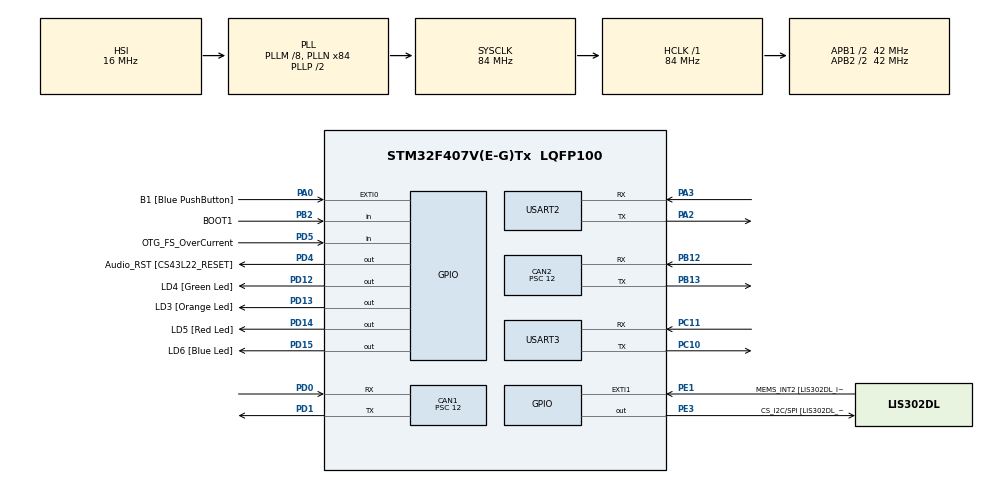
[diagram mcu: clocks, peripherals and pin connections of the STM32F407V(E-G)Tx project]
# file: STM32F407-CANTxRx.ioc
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ADC1.Channel-0\#ChannelRegularConversion=ADC_CHANNEL_TEMPSENSOR
ADC1.ClockPrescaler=ADC_CLOCK_SYNC_PCLK_DIV4
ADC1.EnableAnalogWatchDog=false
ADC1.InjNumberOfConversion=0
ADC1.NbrOfConversionFlag=1
ADC1.Rank-0\#ChannelRegularConversion=1
ADC1.SamplingTime-0\#ChannelRegularConversion=ADC_SAMPLETIME_3CYCLES
ADC1.master=1
CAN1.BS1=CAN_BS1_11TQ
CAN1.BS2=CAN_BS2_2TQ
CAN1.CalculateBaudRate=250000
CAN1.CalculateTimeBit=4000
CAN1.CalculateTimeQuantum=285.7142857142857
CAN1.NART=ENABLE
CAN1.Prescaler=12
CAN2.BS1=CAN_BS1_11TQ
CAN2.BS2=CAN_BS2_2TQ
CAN2.CalculateBaudRate=250000
CAN2.CalculateTimeBit=4000
CAN2.CalculateTimeQuantum=285.7142857142857
CAN2.Mode=CAN_MODE_NORMAL
CAN2.NART=ENABLE
CAN2.Prescaler=12
Mcu.Family=STM32F4
Mcu.Name=STM32F407V(E-G)Tx
Mcu.Package=LQFP100
NVIC.ADC_IRQn=true\:0\:0\:false\:false\:true\:true\:true\:true
NVIC.CAN1_TX_IRQn=true\:0\:0\:false\:false\:true\:true\:true\:true
NVIC.CAN2_RX0_IRQn=true\:0\:0\:false\:false\:true\:true\:true\:true
NVIC.PriorityGroup=NVIC_PRIORITYGROUP_0
NVIC.TIM3_IRQn=true\:0\:0\:false\:false\:true\:true\:true\:true
PA0-WKUP.GPIO_Label=B1 [Blue PushButton]
PA0-WKUP.Signal=GPXTI0
PA13.GPIO_Label=SWDIO
PA13.Mode=Serial_Wire
PA13.Signal=SYS_JTMS-SWDIO
PA14.GPIO_Label=SWCLK
PA14.Mode=Serial_Wire
PA14.Signal=SYS_JTCK-SWCLK
PA2.Mode=Asynchronous
PA2.Signal=USART2_TX
PA3.Mode=Asynchronous
PA3.Signal=USART2_RX
PA4.GPIO_Label=I2S3_WS [CS43L22_LRCK]
PA4.GPIO_Mode=GPIO_MODE_AF_PP
PA4.GPIO_PuPd=GPIO_NOPULL
PA4.GPIO_Speed=GPIO_SPEED_FREQ_LOW
PA4.Signal=I2S3_WS
PA5.GPIO_Label=SPI1_SCK [LIS302DL_SCL/SPC]
PA5.GPIO_Mode=GPIO_MODE_AF_PP
PA5.GPIO_PuPd=GPIO_NOPULL
PA5.GPIO_Speed=GPIO_SPEED_FREQ_LOW
PA5.Signal=SPI1_SCK
PA6.GPIO_Label=SPI1_MISO [LIS302DL_SDO]
PA6.GPIO_Mode=GPIO_MODE_AF_PP
PA6.GPIO_PuPd=GPIO_NOPULL
PA6.GPIO_Speed=GPIO_SPEED_FREQ_LOW
PA6.Signal=SPI1_MISO
PA7.GPIO_Label=SPI1_MOSI [LIS302DL_SDA/SDI/SDO]
PA7.GPIO_Mode=GPIO_MODE_AF_PP
PA7.GPIO_PuPd=GPIO_NOPULL
PA7.GPIO_Speed=GPIO_SPEED_FREQ_LOW
PA7.Signal=SPI1_MOSI
PB10.GPIO_Label=CLK_IN [MP45DT02_CLK]
PB10.GPIO_Mode=GPIO_MODE_AF_PP
PB10.GPIO_PuPd=GPIO_NOPULL
PB10.GPIO_Speed=GPIO_SPEED_FREQ_LOW
PB10.Signal=I2S2_CK
PB12.Mode=CAN_Activate
PB12.Signal=CAN2_RX
PB13.Mode=CAN_Activate
PB13.Signal=CAN2_TX
PB2.GPIO_Label=BOOT1
PB2.GPIO_Mode=GPIO_MODE_INPUT
PB2.GPIO_PuPd=GPIO_NOPULL
PB2.Signal=GPIO_Input
PB3.GPIO_Label=SWO
PB3.Signal=SYS_JTDO-SWO
PC10.Mode=Asynchronous
PC10.Signal=USART3_TX
PC11.Mode=Asynchronous
PC11.Signal=USART3_RX
PC12.GPIO_Label=I2S3_SD [CS43L22_SDIN]
PC12.GPIO_Mode=GPIO_MODE_AF_PP
PC12.GPIO_PuPd=GPIO_NOPULL
PC12.GPIO_Speed=GPIO_SPEED_FREQ_LOW
PC12.Signal=I2S3_SD
PC14-OSC32_IN.GPIO_Label=PC14-OSC32_IN
PC14-OSC32_IN.Signal=RCC_OSC32_IN
PC15-OSC32_OUT.GPIO_Label=PC15-OSC32_OUT
PC15-OSC32_OUT.Signal=RCC_OSC32_OUT
PC3.GPIO_Label=PDM_OUT [MP45DT02_DOUT]
PC3.GPIO_Mode=GPIO_MODE_AF_PP
PC3.GPIO_PuPd=GPIO_NOPULL
PC3.GPIO_Speed=GPIO_SPEED_FREQ_LOW
PC3.Signal=I2S2_SD
PC7.GPIO_Label=I2S3_MCK [CS43L22_MCLK]
PC7.GPIO_Mode=GPIO_MODE_AF_PP
PC7.GPIO_PuPd=GPIO_NOPULL
PC7.GPIO_Speed=GPIO_SPEED_FREQ_LOW
PC7.Signal=I2S3_MCK
PD0.Mode=CAN_Activate
PD0.Signal=CAN1_RX
PD1.Mode=CAN_Activate
PD1.Signal=CAN1_TX
PD12.GPIO_Label=LD4 [Green Led]
PD12.GPIO_PuPd=GPIO_NOPULL
PD12.GPIO_Speed=GPIO_SPEED_FREQ_LOW
PD12.Signal=GPIO_Output
PD13.GPIO_Label=LD3 [Orange Led]
PD13.GPIO_PuPd=GPIO_NOPULL
PD13.GPIO_Speed=GPIO_SPEED_FREQ_LOW
PD13.Signal=GPIO_Output
PD14.GPIO_Label=LD5 [Red Led]
PD14.GPIO_PuPd=GPIO_NOPULL
PD14.GPIO_Speed=GPIO_SPEED_FREQ_LOW
PD14.Signal=GPIO_Output
PD15.GPIO_Label=LD6 [Blue Led]
PD15.GPIO_PuPd=GPIO_NOPULL
PD15.GPIO_Speed=GPIO_SPEED_FREQ_LOW
PD15.Signal=GPIO_Output
PD4.GPIO_Label=Audio_RST [CS43L22_RESET]
PD4.GPIO_PuPd=GPIO_NOPULL
PD4.GPIO_Speed=GPIO_SPEED_FREQ_LOW
PD4.Signal=GPIO_Output
PD5.GPIO_Label=OTG_FS_OverCurrent
PD5.GPIO_Mode=GPIO_MODE_INPUT
PD5.GPIO_PuPd=GPIO_NOPULL
PD5.Signal=GPIO_Input
PE1.GPIO_Label=MEMS_INT2 [LIS302DL_INT2]
PE1.GPIO_ModeDefaultEXTI=GPIO_MODE_EVT_RISING
PE1.GPIO_PuPd=GPIO_NOPULL
PE1.Signal=GPXTI1
PE3.GPIO_Label=CS_I2C/SPI [LIS302DL_CS_I2C/SPI]
PE3.GPIO_PuPd=GPIO_NOPULL
PE3.GPIO_Speed=GPIO_SPEED_FREQ_LOW
PE3.Signal=GPIO_Output
PH0-OSC_IN.GPIO_Label=PH0-OSC_IN
PH0-OSC_IN.Signal=RCC_OSC_IN
PH1-OSC_OUT.GPIO_Label=PH1-OSC_OUT
PH1-OSC_OUT.Signal=RCC_OSC_OUT
ProjectManager.HeapSize=0x200
ProjectManager.StackSize=0x400
ProjectManager.TargetToolchain=STM32CubeIDE
RCC.48MHZClocksFreq_Value=24000000
RCC.AHBFreq_Value=84000000
RCC.APB1CLKDivider=RCC_HCLK_DIV2
RCC.APB1Freq_Value=42000000
RCC.APB1TimFreq_Value=84000000
RCC.APB2CLKDivider=RCC_HCLK_DIV2
RCC.APB2Freq_Value=42000000
RCC.APB2TimFreq_Value=84000000
RCC.CortexFreq_Value=84000000
RCC.HCLKFreq_Value=84000000
RCC.HSE_VALUE=8000000
RCC.HSI_VALUE=16000000
RCC.LSE_VALUE=32768
RCC.PLLM=8
RCC.PLLN=84
RCC.PLLQ=7
RCC.SYSCLKFreq_VALUE=84000000
RCC.SYSCLKSource=RCC_SYSCLKSOURCE_PLLCLK
RCC.VCOOutputFreq_Value=168000000
TIM3.Period=9999
TIM3.Prescaler=8399
USART2.VirtualMode=VM_ASYNC
USART3.VirtualMode=VM_ASYNC
VP_ADC1_TempSens_Input.Mode=IN-TempSens
VP_TIM3_VS_ClockSourceINT.Mode=Internal
board=STM32F407G-DISC1

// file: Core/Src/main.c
/* USER CODE BEGIN Header */
/**
  ******************************************************************************
  * @file           : main.c
  * @brief          : Main program body
  ******************************************************************************
  * @attention
  *
  * Copyright (c) 2026 STMicroelectronics.
  * All rights reserved.
  *
  * This software is licensed under terms that can be found in the LICENSE file
  * in the root directory of this software component.
  * If no LICENSE file comes with this software, it is provided AS-IS.
  *
  ******************************************************************************
  */
/* USER CODE END Header */
#include "main.h"

/* USER CODE BEGIN Includes */
#include "custom_F407_CAN.h"
#include "customITM.h"
#include  "custom.h"
#include "core_temp.h"
#include  "stdio.h"
#include "string.h"

/* USER CODE END Includes */

ADC_HandleTypeDef hadc1;

CAN_HandleTypeDef hcan1;
CAN_HandleTypeDef hcan2;

TIM_HandleTypeDef htim3;

UART_HandleTypeDef huart2;
UART_HandleTypeDef huart3;

/* USER CODE BEGIN PV */
CAN_TxHeaderTypeDef TxHeaderTemp;
CAN_TxHeaderTypeDef TxHeaderPres;
CAN_TxHeaderTypeDef TxHeaderBaro;
uint32_t TxMailbox;

HAL_CAN_StateTypeDef stateCAN1;
HAL_CAN_StateTypeDef stateCAN2;

/* CAN receive variables */
CAN_RxHeaderTypeDef RxHeader;

/* USER CODE END PV */

void SystemClock_Config(void);
static void MX_GPIO_Init(void);
static void MX_CAN1_Init(void);
static void MX_CAN2_Init(void);
static void MX_USART2_UART_Init(void);
static void MX_TIM3_Init(void);
static void MX_USART3_UART_Init(void);
static void MX_ADC1_Init(void);

int main(void)
{

  /* MCU Configuration--------------------------------------------------------*/

  /* Reset of all peripherals, Initializes the Flash interface and the Systick. */
  HAL_Init();

  /* Configure the system clock */
  SystemClock_Config();

  /* USER CODE BEGIN SysInit */

  HAL_Delay(500);
  /* USER CODE END SysInit */

  /* Initialize all configured peripherals */
  MX_GPIO_Init();
  MX_CAN1_Init();
  MX_CAN2_Init();
  MX_USART2_UART_Init();
  MX_TIM3_Init();
  MX_USART3_UART_Init();
  MX_ADC1_Init();
  /* USER CODE BEGIN 2 */

  /*** Enable ITM Interface ***/
  SWO_Pin_Init();
  ITM_TPIU_Init();

  const char *msg  = "[STM32F407-DISCOVERY] [CAN1:Transmitter] [CAN2:Receiver] \r\n";
  HAL_UART_Transmit(&huart3, msg, strlen(msg), 500);

  /* CAN2 Receive Filter Configuration */
  CAN_FilterTypeDef sFilterConfig = { 0 };

  sFilterConfig.FilterBank = 14;
  sFilterConfig.FilterMode = CAN_FILTERMODE_IDMASK;
  sFilterConfig.FilterScale = CAN_FILTERSCALE_32BIT;

  sFilterConfig.FilterIdHigh = (0x100U << 5U);
  sFilterConfig.FilterIdLow = 0x0000U;

  sFilterConfig.FilterMaskIdHigh = (0x7F0U << 5U);
  sFilterConfig.FilterMaskIdLow = 0x0000U;

  sFilterConfig.FilterFIFOAssignment = CAN_FILTER_FIFO0;
  sFilterConfig.FilterActivation = ENABLE;

  sFilterConfig.SlaveStartFilterBank = 14;

  if(HAL_CAN_ConfigFilter(&hcan2, &sFilterConfig) != HAL_OK)
  {
	  Error_Handler();
  }

  /*************** CAN1 Transmiiter Setting ************/
  if(HAL_CAN_Start(&hcan1) != HAL_OK)
  {
	  Error_Handler();
  }

  /*********** CAN2 Receiver Setting ******************/
	if (HAL_CAN_Start(&hcan2) != HAL_OK)
	{
		Error_Handler();
	}

  /*** Enabling RX FIFO0 MSG Pending Interrupt ***/
  if(HAL_CAN_ActivateNotification(&hcan2,
                               CAN_IT_RX_FIFO0_MSG_PENDING) != HAL_OK)
	{
		Error_Handler();
	}

  /* Message Transmit headers */

  /* Pressure Message Header */
  TxHeaderTemp.StdId = MSG_ID_TEMP;
  TxHeaderTemp.ExtId = 0;
  TxHeaderTemp.IDE = CAN_ID_STD;
  TxHeaderTemp.RTR = CAN_RTR_DATA;
  TxHeaderTemp.DLC = 8;
  TxHeaderTemp.TransmitGlobalTime = DISABLE;

  /* Pressure Message Header */
  TxHeaderPres.StdId = MSG_ID_PRES;
  TxHeaderPres.ExtId = 0;
  TxHeaderPres.IDE = CAN_ID_STD;
  TxHeaderPres.RTR = CAN_RTR_DATA;
  TxHeaderPres.DLC = 8;
  TxHeaderPres.TransmitGlobalTime = DISABLE;

  /* Getting CAN state */
 stateCAN1 = HAL_CAN_GetState(&hcan1);
 stateCAN2 = HAL_CAN_GetState(&hcan2);

 /** Start TIMER 3 **/
 if(HAL_TIM_Base_Start_IT(&htim3) != HAL_OK)
 {
	  Error_Handler();
 }

  /* USER CODE END 2 */

  /* Infinite loop */
  /* USER CODE BEGIN WHILE */
  while (1)
  {
	  HAL_Delay(250);

    /* USER CODE END WHILE */

  }
}

void SystemClock_Config(void)
{
  RCC_OscInitTypeDef RCC_OscInitStruct = {0};
  RCC_ClkInitTypeDef RCC_ClkInitStruct = {0};

  /** Configure the main internal regulator output voltage
  */
  __HAL_RCC_PWR_CLK_ENABLE();
  __HAL_PWR_VOLTAGESCALING_CONFIG(PWR_REGULATOR_VOLTAGE_SCALE1);

  /** Initializes the RCC Oscillators according to the specified parameters
  * in the RCC_OscInitTypeDef structure.
  */
  RCC_OscInitStruct.OscillatorType = RCC_OSCILLATORTYPE_HSI;
  RCC_OscInitStruct.HSIState = RCC_HSI_ON;
  RCC_OscInitStruct.HSICalibrationValue = RCC_HSICALIBRATION_DEFAULT;
  RCC_OscInitStruct.PLL.PLLState = RCC_PLL_ON;
  RCC_OscInitStruct.PLL.PLLSource = RCC_PLLSOURCE_HSI;
  RCC_OscInitStruct.PLL.PLLM = 8;
  RCC_OscInitStruct.PLL.PLLN = 84;
  RCC_OscInitStruct.PLL.PLLP = RCC_PLLP_DIV2;
  RCC_OscInitStruct.PLL.PLLQ = 7;
  if (HAL_RCC_OscConfig(&RCC_OscInitStruct) != HAL_OK)
  {
    Error_Handler();
  }

  /** Initializes the CPU, AHB and APB buses clocks
  */
  RCC_ClkInitStruct.ClockType = RCC_CLOCKTYPE_HCLK|RCC_CLOCKTYPE_SYSCLK
                              |RCC_CLOCKTYPE_PCLK1|RCC_CLOCKTYPE_PCLK2;
  RCC_ClkInitStruct.SYSCLKSource = RCC_SYSCLKSOURCE_PLLCLK;
  RCC_ClkInitStruct.AHBCLKDivider = RCC_SYSCLK_DIV1;
  RCC_ClkInitStruct.APB1CLKDivider = RCC_HCLK_DIV2;
  RCC_ClkInitStruct.APB2CLKDivider = RCC_HCLK_DIV2;

  if (HAL_RCC_ClockConfig(&RCC_ClkInitStruct, FLASH_LATENCY_2) != HAL_OK)
  {
    Error_Handler();
  }
}

static void MX_ADC1_Init(void)
{

  ADC_ChannelConfTypeDef sConfig = {0};

  /** Configure the global features of the ADC (Clock, Resolution, Data Alignment and number of conversion)
  */
  hadc1.Instance = ADC1;
  hadc1.Init.ClockPrescaler = ADC_CLOCK_SYNC_PCLK_DIV4;
  hadc1.Init.Resolution = ADC_RESOLUTION_12B;
  hadc1.Init.ScanConvMode = DISABLE;
  hadc1.Init.ContinuousConvMode = DISABLE;
  hadc1.Init.DiscontinuousConvMode = DISABLE;
  hadc1.Init.ExternalTrigConvEdge = ADC_EXTERNALTRIGCONVEDGE_NONE;
  hadc1.Init.ExternalTrigConv = ADC_SOFTWARE_START;
  hadc1.Init.DataAlign = ADC_DATAALIGN_RIGHT;
  hadc1.Init.NbrOfConversion = 1;
  hadc1.Init.DMAContinuousRequests = DISABLE;
  hadc1.Init.EOCSelection = ADC_EOC_SINGLE_CONV;
  if (HAL_ADC_Init(&hadc1) != HAL_OK)
  {
    Error_Handler();
  }

  /** Configure for the selected ADC regular channel its corresponding rank in the sequencer and its sample time.
  */
  sConfig.Channel = ADC_CHANNEL_TEMPSENSOR;
  sConfig.Rank = 1;
  sConfig.SamplingTime = ADC_SAMPLETIME_3CYCLES;
  if (HAL_ADC_ConfigChannel(&hadc1, &sConfig) != HAL_OK)
  {
    Error_Handler();
  }

}

static void MX_CAN1_Init(void)
{

  hcan1.Instance = CAN1;
  hcan1.Init.Prescaler = 12;
  hcan1.Init.Mode = CAN_MODE_NORMAL;
  hcan1.Init.SyncJumpWidth = CAN_SJW_1TQ;
  hcan1.Init.TimeSeg1 = CAN_BS1_11TQ;
  hcan1.Init.TimeSeg2 = CAN_BS2_2TQ;
  hcan1.Init.TimeTriggeredMode = DISABLE;
  hcan1.Init.AutoBusOff = DISABLE;
  hcan1.Init.AutoWakeUp = DISABLE;
  hcan1.Init.AutoRetransmission = ENABLE;
  hcan1.Init.ReceiveFifoLocked = DISABLE;
  hcan1.Init.TransmitFifoPriority = DISABLE;
  if (HAL_CAN_Init(&hcan1) != HAL_OK)
  {
    Error_Handler();
  }

}

static void MX_CAN2_Init(void)
{

  hcan2.Instance = CAN2;
  hcan2.Init.Prescaler = 12;
  hcan2.Init.Mode = CAN_MODE_NORMAL;
  hcan2.Init.SyncJumpWidth = CAN_SJW_1TQ;
  hcan2.Init.TimeSeg1 = CAN_BS1_11TQ;
  hcan2.Init.TimeSeg2 = CAN_BS2_2TQ;
  hcan2.Init.TimeTriggeredMode = DISABLE;
  hcan2.Init.AutoBusOff = DISABLE;
  hcan2.Init.AutoWakeUp = DISABLE;
  hcan2.Init.AutoRetransmission = ENABLE;
  hcan2.Init.ReceiveFifoLocked = DISABLE;
  hcan2.Init.TransmitFifoPriority = DISABLE;
  if (HAL_CAN_Init(&hcan2) != HAL_OK)
  {
    Error_Handler();
  }

}

static void MX_TIM3_Init(void)
{

  TIM_ClockConfigTypeDef sClockSourceConfig = {0};
  TIM_MasterConfigTypeDef sMasterConfig = {0};

  htim3.Instance = TIM3;
  htim3.Init.Prescaler = 8399;
  htim3.Init.CounterMode = TIM_COUNTERMODE_UP;
  htim3.Init.Period = 9999;
  htim3.Init.ClockDivision = TIM_CLOCKDIVISION_DIV1;
  htim3.Init.AutoReloadPreload = TIM_AUTORELOAD_PRELOAD_DISABLE;
  if (HAL_TIM_Base_Init(&htim3) != HAL_OK)
  {
    Error_Handler();
  }
  sClockSourceConfig.ClockSource = TIM_CLOCKSOURCE_INTERNAL;
  if (HAL_TIM_ConfigClockSource(&htim3, &sClockSourceConfig) != HAL_OK)
  {
    Error_Handler();
  }
  sMasterConfig.MasterOutputTrigger = TIM_TRGO_RESET;
  sMasterConfig.MasterSlaveMode = TIM_MASTERSLAVEMODE_DISABLE;
  if (HAL_TIMEx_MasterConfigSynchronization(&htim3, &sMasterConfig) != HAL_OK)
  {
    Error_Handler();
  }

}

static void MX_USART2_UART_Init(void)
{

  huart2.Instance = USART2;
  huart2.Init.BaudRate = 115200;
  huart2.Init.WordLength = UART_WORDLENGTH_8B;
  huart2.Init.StopBits = UART_STOPBITS_1;
  huart2.Init.Parity = UART_PARITY_NONE;
  huart2.Init.Mode = UART_MODE_TX_RX;
  huart2.Init.HwFlowCtl = UART_HWCONTROL_NONE;
  huart2.Init.OverSampling = UART_OVERSAMPLING_16;
  if (HAL_UART_Init(&huart2) != HAL_OK)
  {
    Error_Handler();
  }

}

static void MX_USART3_UART_Init(void)
{

  huart3.Instance = USART3;
  huart3.Init.BaudRate = 115200;
  huart3.Init.WordLength = UART_WORDLENGTH_8B;
  huart3.Init.StopBits = UART_STOPBITS_1;
  huart3.Init.Parity = UART_PARITY_NONE;
  huart3.Init.Mode = UART_MODE_TX_RX;
  huart3.Init.HwFlowCtl = UART_HWCONTROL_NONE;
  huart3.Init.OverSampling = UART_OVERSAMPLING_16;
  if (HAL_UART_Init(&huart3) != HAL_OK)
  {
    Error_Handler();
  }

}

static void MX_GPIO_Init(void)
{
  GPIO_InitTypeDef GPIO_InitStruct = {0};

  /* GPIO Ports Clock Enable */
  __HAL_RCC_GPIOE_CLK_ENABLE();
  __HAL_RCC_GPIOC_CLK_ENABLE();
  __HAL_RCC_GPIOH_CLK_ENABLE();
  __HAL_RCC_GPIOA_CLK_ENABLE();
  __HAL_RCC_GPIOB_CLK_ENABLE();
  __HAL_RCC_GPIOD_CLK_ENABLE();

  /*Configure GPIO pin Output Level */
  HAL_GPIO_WritePin(CS_I2C_SPI_GPIO_Port, CS_I2C_SPI_Pin, GPIO_PIN_RESET);

  /*Configure GPIO pin Output Level */
  HAL_GPIO_WritePin(GPIOD, LD4_Pin|LD3_Pin|LD5_Pin|LD6_Pin
                          |Audio_RST_Pin, GPIO_PIN_RESET);

  /*Configure GPIO pin : CS_I2C_SPI_Pin */
  GPIO_InitStruct.Pin = CS_I2C_SPI_Pin;
  GPIO_InitStruct.Mode = GPIO_MODE_OUTPUT_PP;
  GPIO_InitStruct.Pull = GPIO_NOPULL;
  GPIO_InitStruct.Speed = GPIO_SPEED_FREQ_LOW;
  HAL_GPIO_Init(CS_I2C_SPI_GPIO_Port, &GPIO_InitStruct);

  /*Configure GPIO pin : PDM_OUT_Pin */
  GPIO_InitStruct.Pin = PDM_OUT_Pin;
  GPIO_InitStruct.Mode = GPIO_MODE_AF_PP;
  GPIO_InitStruct.Pull = GPIO_NOPULL;
  GPIO_InitStruct.Speed = GPIO_SPEED_FREQ_LOW;
  GPIO_InitStruct.Alternate = GPIO_AF5_SPI2;
  HAL_GPIO_Init(PDM_OUT_GPIO_Port, &GPIO_InitStruct);

  /*Configure GPIO pin : B1_Pin */
  GPIO_InitStruct.Pin = B1_Pin;
  GPIO_InitStruct.Mode = GPIO_MODE_IT_RISING;
  GPIO_InitStruct.Pull = GPIO_NOPULL;
  HAL_GPIO_Init(B1_GPIO_Port, &GPIO_InitStruct);

  /*Configure GPIO pin : I2S3_WS_Pin */
  GPIO_InitStruct.Pin = I2S3_WS_Pin;
  GPIO_InitStruct.Mode = GPIO_MODE_AF_PP;
  GPIO_InitStruct.Pull = GPIO_NOPULL;
  GPIO_InitStruct.Speed = GPIO_SPEED_FREQ_LOW;
  GPIO_InitStruct.Alternate = GPIO_AF6_SPI3;
  HAL_GPIO_Init(I2S3_WS_GPIO_Port, &GPIO_InitStruct);

  /*Configure GPIO pins : SPI1_SCK_Pin SPI1_MISO_Pin SPI1_MOSI_Pin */
  GPIO_InitStruct.Pin = SPI1_SCK_Pin|SPI1_MISO_Pin|SPI1_MOSI_Pin;
  GPIO_InitStruct.Mode = GPIO_MODE_AF_PP;
  GPIO_InitStruct.Pull = GPIO_NOPULL;
  GPIO_InitStruct.Speed = GPIO_SPEED_FREQ_LOW;
  GPIO_InitStruct.Alternate = GPIO_AF5_SPI1;
  HAL_GPIO_Init(GPIOA, &GPIO_InitStruct);

  /*Configure GPIO pin : BOOT1_Pin */
  GPIO_InitStruct.Pin = BOOT1_Pin;
  GPIO_InitStruct.Mode = GPIO_MODE_INPUT;
  GPIO_InitStruct.Pull = GPIO_NOPULL;
  HAL_GPIO_Init(BOOT1_GPIO_Port, &GPIO_InitStruct);

  /*Configure GPIO pin : CLK_IN_Pin */
  GPIO_InitStruct.Pin = CLK_IN_Pin;
  GPIO_InitStruct.Mode = GPIO_MODE_AF_PP;
  GPIO_InitStruct.Pull = GPIO_NOPULL;
  GPIO_InitStruct.Speed = GPIO_SPEED_FREQ_LOW;
  GPIO_InitStruct.Alternate = GPIO_AF5_SPI2;
  HAL_GPIO_Init(CLK_IN_GPIO_Port, &GPIO_InitStruct);

  /*Configure GPIO pins : LD4_Pin LD3_Pin LD5_Pin LD6_Pin
                           Audio_RST_Pin */
  GPIO_InitStruct.Pin = LD4_Pin|LD3_Pin|LD5_Pin|LD6_Pin
                          |Audio_RST_Pin;
  GPIO_InitStruct.Mode = GPIO_MODE_OUTPUT_PP;
  GPIO_InitStruct.Pull = GPIO_NOPULL;
  GPIO_InitStruct.Speed = GPIO_SPEED_FREQ_LOW;
  HAL_GPIO_Init(GPIOD, &GPIO_InitStruct);

  /*Configure GPIO pins : I2S3_MCK_Pin I2S3_SD_Pin */
  GPIO_InitStruct.Pin = I2S3_MCK_Pin|I2S3_SD_Pin;
  GPIO_InitStruct.Mode = GPIO_MODE_AF_PP;
  GPIO_InitStruct.Pull = GPIO_NOPULL;
  GPIO_InitStruct.Speed = GPIO_SPEED_FREQ_LOW;
  GPIO_InitStruct.Alternate = GPIO_AF6_SPI3;
  HAL_GPIO_Init(GPIOC, &GPIO_InitStruct);

  /*Configure GPIO pin : OTG_FS_OverCurrent_Pin */
  GPIO_InitStruct.Pin = OTG_FS_OverCurrent_Pin;
  GPIO_InitStruct.Mode = GPIO_MODE_INPUT;
  GPIO_InitStruct.Pull = GPIO_NOPULL;
  HAL_GPIO_Init(OTG_FS_OverCurrent_GPIO_Port, &GPIO_InitStruct);

  /*Configure GPIO pin : MEMS_INT2_Pin */
  GPIO_InitStruct.Pin = MEMS_INT2_Pin;
  GPIO_InitStruct.Mode = GPIO_MODE_EVT_RISING;
  GPIO_InitStruct.Pull = GPIO_NOPULL;
  HAL_GPIO_Init(MEMS_INT2_GPIO_Port, &GPIO_InitStruct);

}

void Error_Handler(void)
{
  __disable_irq();
  while (1)
  {
  }
}
